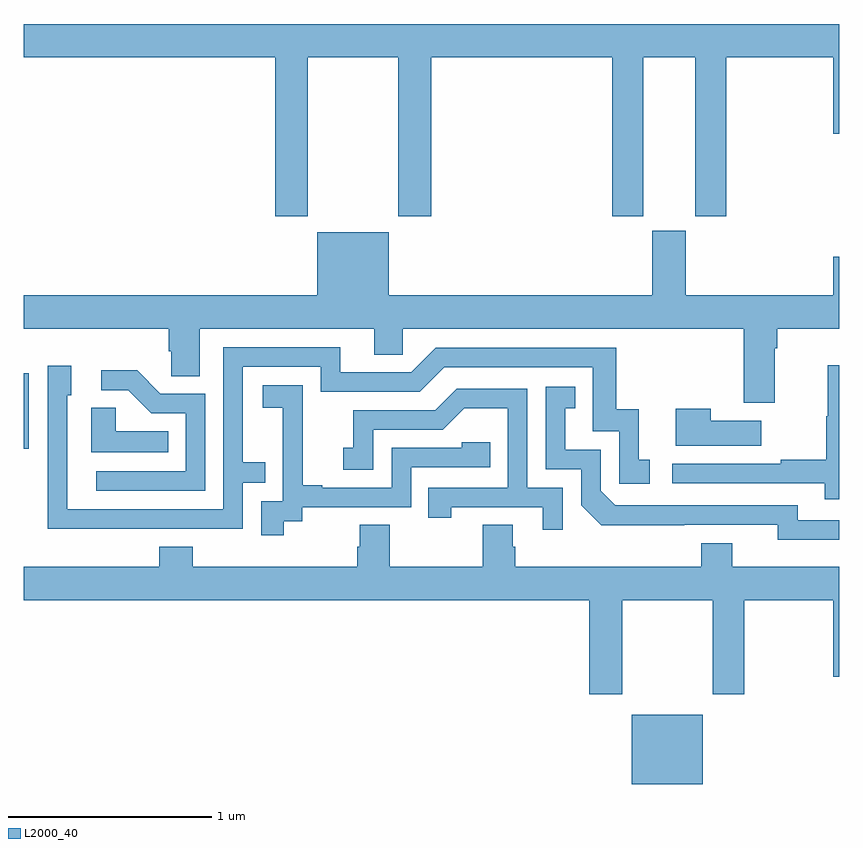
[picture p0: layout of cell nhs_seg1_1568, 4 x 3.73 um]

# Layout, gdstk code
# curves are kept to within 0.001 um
import gdstk
lib = gdstk.Library(unit=1e-6, precision=1e-09)
def R(c, l, rs):  # rectangles x0, y0, x1, y1
    for r in rs: c.add(gdstk.rectangle(r[:2], r[2:], *l))
def P(c, l, *ps):  # polygons
    for p in ps: c.add(gdstk.Polygon(p, *l))
L2000_40 = (2000, 40)

nhs_seg1_1568 = lib.new_cell('nhs_seg1_1568')
R(nhs_seg1_1568, L2000_40, [(199.982,516.199,200.332,516.538), (197,517.845,197.025,518.214)])
P(nhs_seg1_1568, L2000_40, [(198.393,519.764),(198.838,519.764),(198.838,518.985),(198.998,518.985),(198.998,519.764),(199.886,519.764),(199.886,518.985),(200.038,518.985),(200.038,519.764),(200.294,519.764),(200.294,518.985),(200.447,518.985),(200.447,519.764),(200.972,519.764),(200.972,519.39),(201,519.39),(201,519.928),(197,519.928),(197,519.764),(198.233,519.764),(198.233,518.985),(198.393,518.985)],
  [(200.683,518.336),(200.696,518.336),(200.696,518.432),(201,518.432),(201,518.785),(200.972,518.785),(200.972,518.596),(200.248,518.596),(200.248,518.913),(200.084,518.913),(200.084,518.596),(198.79,518.596),(198.79,518.905),(198.44,518.905),(198.44,518.596),(197,518.596),(197,518.432),(197.711,518.432),(197.711,518.323),(197.724,518.323),(197.724,518.2),(197.863,518.2),(197.863,518.432),(198.719,518.432),(198.719,518.305),(198.858,518.305),(198.858,518.432),(200.531,518.432),(200.531,518.07),(200.683,518.07)],
  [(197.579,517.452),(198.075,517.452),(198.075,517.677),(198.185,517.677),(198.185,517.778),(198.075,517.778),(198.075,518.247),(198.456,518.247),(198.456,518.124),(198.942,518.124),(199.062,518.244),(199.791,518.244),(199.791,517.929),(199.92,517.929),(199.92,517.671),(200.071,517.671),(200.071,517.791),(200.018,517.791),(200.018,518.038),(199.907,518.038),(199.907,518.34),(199.02,518.34),(198.9,518.22),(198.553,518.22),(198.553,518.343),(197.979,518.343),(197.979,517.548),(197.214,517.548),(197.214,518.106),(197.233,518.106),(197.233,518.251),(197.118,518.251),(197.118,517.757),(197.116,517.757),(197.116,517.451)],
  [(201,518.254),(200.944,518.254),(200.944,518.004),(200.937,518.004),(200.937,517.79),(200.713,517.79),(200.713,517.77),(200.181,517.77),(200.181,517.674),(200.929,517.674),(200.929,517.596),(201,517.596)],
  [(197.889,518.115),(197.67,518.115),(197.557,518.228),(197.379,518.228),(197.379,518.13),(197.513,518.13),(197.624,518.019),(197.793,518.019),(197.793,517.734),(197.355,517.734),(197.355,517.638),(197.889,517.638)],
  [(198.274,517.489),(198.366,517.489),(198.366,517.557),(198.9,517.557),(198.9,517.752),(199.289,517.752),(199.289,517.875),(199.149,517.875),(199.149,517.848),(198.804,517.848),(198.804,517.653),(198.463,517.653),(198.463,517.666),(198.368,517.666),(198.368,517.949),(198.369,517.949),(198.369,518.155),(198.171,518.155),(198.171,518.045),(198.269,518.045),(198.269,517.817),(198.27,517.817),(198.27,517.587),(198.165,517.587),(198.165,517.419),(198.274,517.419)],
  [(201,517.494),(200.796,517.494),(200.796,517.566),(199.902,517.566),(199.83,517.638),(199.83,517.839),(199.657,517.839),(199.657,518.043),(199.706,518.043),(199.706,518.149),(199.56,518.149),(199.56,517.743),(199.734,517.743),(199.734,517.566),(199.832,517.469),(200.7,517.47),(200.7,517.397),(201,517.397)],
  [(199.644,517.653),(199.47,517.653),(199.47,518.139),(199.124,518.139),(199.019,518.034),(198.616,518.034),(198.616,517.849),(198.567,517.849),(198.567,517.74),(198.714,517.74),(198.714,517.938),(199.056,517.938),(199.16,518.042),(199.374,518.042),(199.374,517.653),(198.985,517.653),(198.985,517.506),(199.096,517.506),(199.096,517.557),(199.547,517.557),(199.547,517.446),(199.644,517.446)],
  [(197.708,517.93),(197.451,517.93),(197.451,518.045),(197.33,518.045),(197.33,517.826),(197.708,517.826)],
  [(200.617,517.981),(200.369,517.981),(200.369,518.041),(200.198,518.041),(200.198,517.859),(200.617,517.859)],
  [(199.935,517.1),(200.38,517.1),(200.38,516.639),(200.535,516.639),(200.535,517.1),(200.972,517.1),(200.972,516.726),(201,516.726),(201,517.264),(200.476,517.264),(200.476,517.381),(200.324,517.381),(200.324,517.264),(199.412,517.264),(199.412,517.362),(199.399,517.362),(199.399,517.472),(199.252,517.472),(199.252,517.264),(198.795,517.264),(198.795,517.472),(198.647,517.472),(198.647,517.362),(198.635,517.362),(198.635,517.264),(197.828,517.264),(197.828,517.363),(197.663,517.363),(197.663,517.264),(197,517.264),(197,517.1),(199.775,517.1),(199.775,516.639),(199.935,516.639)])

lib.write_gds('nhs_seg1_1568.gds')
